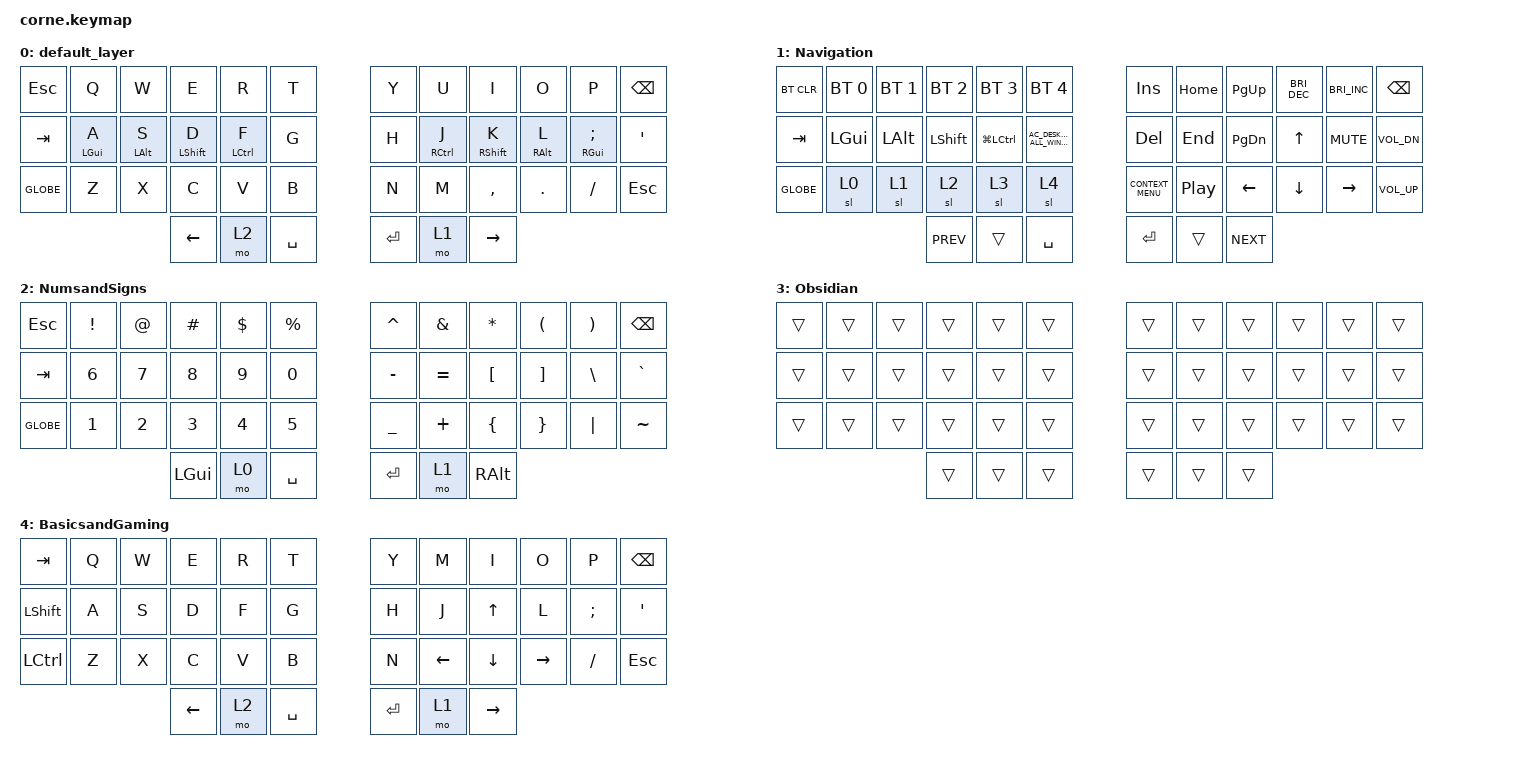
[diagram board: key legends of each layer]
/*
 * Copyright (c) 2020 The ZMK Contributors
 *
 * SPDX-License-Identifier: MIT
 */

#include <behaviors.dtsi>
#include <dt-bindings/zmk/bt.h>
#include <dt-bindings/zmk/keys.h>

/ {
    behaviors {
        hrm: hrm {
            compatible = "zmk,behavior-hold-tap";
            label = "HRM";
            bindings = <&kp>, <&kp>;

            #binding-cells = <2>;
            flavor = "balanced";
            tapping-term-ms = <280>;
        };
    };

    keymap {
        compatible = "zmk,keymap";

        default_layer {
            // -----------------------------------------------------------------------------------------
            // |  TAB |  Q  |  W  |  E  |  R  |  T  |   |  Y  |  U   |  I  |  O  |  P  | BSPC |
            // | CTRL |  A  |  S  |  D  |  F  |  G  |   |  H  |  J   |  K  |  L  |  ;  |  '   |
            // | SHFT |  Z  |  X  |  C  |  V  |  B  |   |  N  |  M   |  ,  |  .  |  /  | ESC  |
            //                    | GUI | LWR | SPC |   | ENT | RSE  | ALT |

            bindings = <
&kp ESCAPE  &kp Q            &kp W            &kp E              &kp R         &kp T        &kp Y    &kp U         &kp I               &kp O             &kp P                &kp BSPC
&kp TAB     &hrm LEFT_GUI A  &hrm LEFT_ALT S  &hrm LEFT_SHIFT D  &hrm LCTRL F  &kp G        &kp H    &hrm RCTRL J  &hrm RIGHT_SHIFT K  &hrm RIGHT_ALT L  &hrm RIGHT_GUI SEMI  &kp SQT
&kp GLOBE   &kp Z            &kp X            &kp C              &kp V         &kp B        &kp N    &kp M         &kp COMMA           &kp DOT           &kp FSLH             &kp ESC
                                              &kp LEFT_ARROW     &mo 2         &kp SPACE    &kp RET  &mo 1         &kp RIGHT_ARROW
            >;
        };

        Navigation {
            // -----------------------------------------------------------------------------------------
            // |  TAB |  1  |  2  |  3  |  4  |  5  |   |  6  |  7  |  8  |  9  |  0  | BSPC |
            // | BTCLR| BT1 | BT2 | BT3 | BT4 | BT5 |   | LFT | DWN |  UP | RGT |     |      |
            // | SHFT |     |     |     |     |     |   |     |     |     |     |     |      |
            //                    | GUI |     | SPC |   | ENT |     | ALT |

            bindings = <
&bt BT_CLR  &bt BT_SEL 0  &bt BT_SEL 1  &bt BT_SEL 2    &bt BT_SEL 3          &bt BT_SEL 4                         &kp INS             &kp HOME          &kp PAGE_UP     &kp C_BRI_DEC   &kp C_BRIGHTNESS_INC  &kp BSPC
&kp TAB     &kp LEFT_GUI  &kp LEFT_ALT  &kp LEFT_SHIFT  &kp LG(LEFT_CONTROL)  &kp C_AC_DESKTOP_SHOW_ALL_WINDOWS    &kp DELETE          &kp END           &kp PAGE_DOWN   &kp UP_ARROW    &kp C_MUTE            &kp C_VOL_DN
&kp GLOBE   &sl 0         &sl 1         &sl 2           &sl 3                 &sl 4                                &kp K_CONTEXT_MENU  &kp C_PLAY_PAUSE  &kp LEFT_ARROW  &kp DOWN_ARROW  &kp RIGHT_ARROW       &kp C_VOL_UP
                                        &kp C_PREV      &trans                &kp SPACE                            &kp RET             &trans            &kp C_NEXT
            >;
        };

        NumsandSigns {
            // -----------------------------------------------------------------------------------------
            // |  TAB |  !  |  @  |  #  |  $  |  %  |   |  ^  |  &  |  *  |  (  |  )  | BSPC |
            // | CTRL |     |     |     |     |     |   |  -  |  =  |  [  |  ]  |  \  |  `   |
            // | SHFT |     |     |     |     |     |   |  _  |  +  |  {  |  }  | "|" |  ~   |
            //                    | GUI |     | SPC |   | ENT |     | ALT |

            bindings = <
&kp ESCAPE  &kp EXCL      &kp AT        &kp HASH      &kp DLLR      &kp PRCNT    &kp CARET  &kp AMPS   &kp ASTRK  &kp LPAR  &kp RPAR  &kp BSPC
&kp TAB     &kp NUMBER_6  &kp N7        &kp N8        &kp N9        &kp N0       &kp MINUS  &kp EQUAL  &kp LBKT   &kp RBKT  &kp BSLH  &kp GRAVE
&kp GLOBE   &kp NUMBER_1  &kp NUMBER_2  &kp NUMBER_3  &kp NUMBER_4  &kp N5       &kp UNDER  &kp PLUS   &kp LBRC   &kp RBRC  &kp PIPE  &kp TILDE
                                        &kp LGUI      &mo 0         &kp SPACE    &kp RET    &mo 1      &kp RALT
            >;
        };

        Obsidian {
            bindings = <
&trans  &trans  &trans  &trans  &trans  &trans    &trans  &trans  &trans  &trans  &trans  &trans
&trans  &trans  &trans  &trans  &trans  &trans    &trans  &trans  &trans  &trans  &trans  &trans
&trans  &trans  &trans  &trans  &trans  &trans    &trans  &trans  &trans  &trans  &trans  &trans
                        &trans  &trans  &trans    &trans  &trans  &trans
            >;
        };

        BasicsandGaming {
            bindings = <
&kp TAB         &kp Q  &kp W  &kp E           &kp R  &kp T        &kp Y    &kp M     &kp I            &kp O            &kp P     &kp BSPC
&kp LEFT_SHIFT  &kp A  &kp S  &kp D           &kp F  &kp G        &kp H    &kp J     &kp UP           &kp L            &kp SEMI  &kp SQT
&kp LCTRL       &kp Z  &kp X  &kp C           &kp V  &kp B        &kp N    &kp LEFT  &kp DOWN         &kp RIGHT_ARROW  &kp FSLH  &kp ESC
                              &kp LEFT_ARROW  &mo 2  &kp SPACE    &kp RET  &mo 1     &kp RIGHT_ARROW
            >;
        };
    };
};
